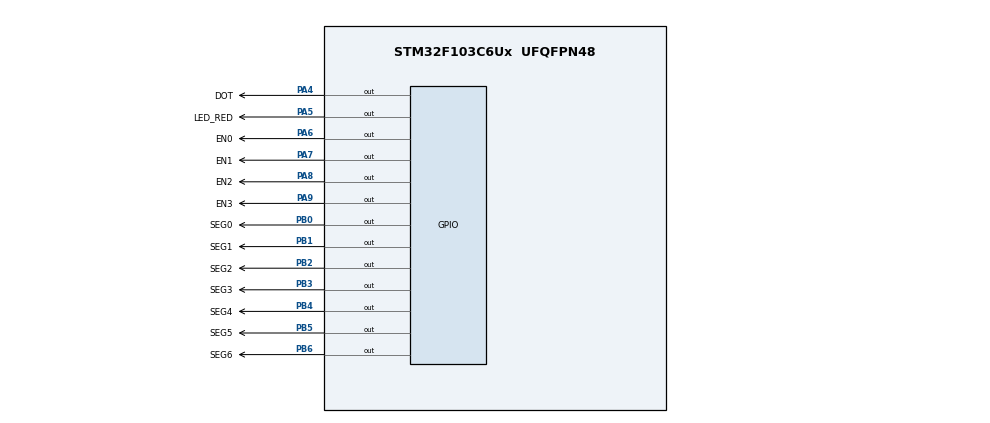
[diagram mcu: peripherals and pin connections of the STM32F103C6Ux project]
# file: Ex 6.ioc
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Mcu.Family=STM32F1
Mcu.Name=STM32F103C6Ux
Mcu.Package=UFQFPN48
NVIC.PriorityGroup=NVIC_PRIORITYGROUP_4
NVIC.TIM2_IRQn=true\:0\:0\:false\:false\:true\:true\:true\:true
PA4.GPIO_Label=DOT
PA4.Signal=GPIO_Output
PA5.GPIO_Label=LED_RED
PA5.Signal=GPIO_Output
PA6.GPIO_Label=EN0
PA6.Signal=GPIO_Output
PA7.GPIO_Label=EN1
PA7.Signal=GPIO_Output
PA8.GPIO_Label=EN2
PA8.Signal=GPIO_Output
PA9.GPIO_Label=EN3
PA9.Signal=GPIO_Output
PB0.GPIO_Label=SEG0
PB0.Signal=GPIO_Output
PB1.GPIO_Label=SEG1
PB1.Signal=GPIO_Output
PB2.GPIO_Label=SEG2
PB2.Signal=GPIO_Output
PB3.GPIO_Label=SEG3
PB3.Signal=GPIO_Output
PB4.GPIO_Label=SEG4
PB4.Signal=GPIO_Output
PB5.GPIO_Label=SEG5
PB5.Signal=GPIO_Output
PB6.GPIO_Label=SEG6
PB6.Signal=GPIO_Output
ProjectManager.HeapSize=0x200
ProjectManager.StackSize=0x400
ProjectManager.TargetToolchain=STM32CubeIDE
RCC.APB1Freq_Value=8000000
RCC.APB2Freq_Value=8000000
TIM2.Period=9
TIM2.Prescaler=7999
VP_SYS_VS_ND.Mode=No_Debug
VP_TIM2_VS_ClockSourceINT.Mode=Internal
board=custom

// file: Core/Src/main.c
/* USER CODE BEGIN Header */
/**
  ******************************************************************************
  * @file           : main.c
  * @brief          : Main program body
  ******************************************************************************
  * @attention
  *
  * <h2><center>&copy; Copyright (c) 2022 STMicroelectronics.
  * All rights reserved.</center></h2>
  *
  * This software component is licensed by ST under BSD 3-Clause license,
  * the "License"; You may not use this file except in compliance with the
  * License. You may obtain a copy of the License at:
  *                        opensource.org/licenses/BSD-3-Clause
  *
  ******************************************************************************
  */
/* USER CODE END Header */
#include "main.h"

/* USER CODE BEGIN Includes */
#include "timer.h"
#include "led.h"
/* USER CODE END Includes */

TIM_HandleTypeDef htim2;

void SystemClock_Config(void);
static void MX_GPIO_Init(void);
static void MX_TIM2_Init(void);

/* USER CODE BEGIN 0 */
int timer0_counter = 0;
int timer0_flag = 0;
int TIMER_CYCLE = 10;
void setTimer0(int duration){
	timer0_counter = duration / TIMER_CYCLE ;
	timer0_flag = 0;
}
void timer_run(){
	if (timer0_counter > 0) {
		timer0_counter--;
		if (timer0_counter == 0) timer0_flag = 1;
	}
}
/* USER CODE END 0 */

int main(void)
{

  /* MCU Configuration--------------------------------------------------------*/

  /* Reset of all peripherals, Initializes the Flash interface and the Systick. */
  HAL_Init();

  /* Configure the system clock */
  SystemClock_Config();

  /* Initialize all configured peripherals */
  MX_GPIO_Init();
  MX_TIM2_Init();
  /* USER CODE BEGIN 2 */
  HAL_TIM_Base_Start_IT(&htim2);
  setTimer0 (10);
  /* USER CODE END 2 */

  /* Infinite loop */
  /* USER CODE BEGIN WHILE */
  while (1) {
	  if (timer0_flag == 1) {
		  HAL_GPIO_TogglePin(LED_RED_GPIO_Port, LED_RED_Pin);
		  setTimer0(2000);
	  }
    /* USER CODE END WHILE */

  }
}

void SystemClock_Config(void)
{
  RCC_OscInitTypeDef RCC_OscInitStruct = {0};
  RCC_ClkInitTypeDef RCC_ClkInitStruct = {0};

  /** Initializes the RCC Oscillators according to the specified parameters
  * in the RCC_OscInitTypeDef structure.
  */
  RCC_OscInitStruct.OscillatorType = RCC_OSCILLATORTYPE_HSI;
  RCC_OscInitStruct.HSIState = RCC_HSI_ON;
  RCC_OscInitStruct.HSICalibrationValue = RCC_HSICALIBRATION_DEFAULT;
  RCC_OscInitStruct.PLL.PLLState = RCC_PLL_NONE;
  if (HAL_RCC_OscConfig(&RCC_OscInitStruct) != HAL_OK)
  {
    Error_Handler();
  }

  /** Initializes the CPU, AHB and APB buses clocks
  */
  RCC_ClkInitStruct.ClockType = RCC_CLOCKTYPE_HCLK|RCC_CLOCKTYPE_SYSCLK
                              |RCC_CLOCKTYPE_PCLK1|RCC_CLOCKTYPE_PCLK2;
  RCC_ClkInitStruct.SYSCLKSource = RCC_SYSCLKSOURCE_HSI;
  RCC_ClkInitStruct.AHBCLKDivider = RCC_SYSCLK_DIV1;
  RCC_ClkInitStruct.APB1CLKDivider = RCC_HCLK_DIV1;
  RCC_ClkInitStruct.APB2CLKDivider = RCC_HCLK_DIV1;

  if (HAL_RCC_ClockConfig(&RCC_ClkInitStruct, FLASH_LATENCY_0) != HAL_OK)
  {
    Error_Handler();
  }
}

static void MX_TIM2_Init(void)
{

  TIM_ClockConfigTypeDef sClockSourceConfig = {0};
  TIM_MasterConfigTypeDef sMasterConfig = {0};

  htim2.Instance = TIM2;
  htim2.Init.Prescaler = 7999;
  htim2.Init.CounterMode = TIM_COUNTERMODE_UP;
  htim2.Init.Period = 9;
  htim2.Init.ClockDivision = TIM_CLOCKDIVISION_DIV1;
  htim2.Init.AutoReloadPreload = TIM_AUTORELOAD_PRELOAD_DISABLE;
  if (HAL_TIM_Base_Init(&htim2) != HAL_OK)
  {
    Error_Handler();
  }
  sClockSourceConfig.ClockSource = TIM_CLOCKSOURCE_INTERNAL;
  if (HAL_TIM_ConfigClockSource(&htim2, &sClockSourceConfig) != HAL_OK)
  {
    Error_Handler();
  }
  sMasterConfig.MasterOutputTrigger = TIM_TRGO_RESET;
  sMasterConfig.MasterSlaveMode = TIM_MASTERSLAVEMODE_DISABLE;
  if (HAL_TIMEx_MasterConfigSynchronization(&htim2, &sMasterConfig) != HAL_OK)
  {
    Error_Handler();
  }

}

static void MX_GPIO_Init(void)
{
  GPIO_InitTypeDef GPIO_InitStruct = {0};

  /* GPIO Ports Clock Enable */
  __HAL_RCC_GPIOA_CLK_ENABLE();
  __HAL_RCC_GPIOB_CLK_ENABLE();

  /*Configure GPIO pin Output Level */
  HAL_GPIO_WritePin(GPIOA, DOT_Pin|LED_RED_Pin|EN0_Pin|EN1_Pin
                          |EN2_Pin|EN3_Pin, GPIO_PIN_RESET);

  /*Configure GPIO pin Output Level */
  HAL_GPIO_WritePin(GPIOB, SEG0_Pin|SEG1_Pin|SEG2_Pin|SEG3_Pin
                          |SEG4_Pin|SEG5_Pin|SEG6_Pin, GPIO_PIN_RESET);

  /*Configure GPIO pins : DOT_Pin LED_RED_Pin EN0_Pin EN1_Pin
                           EN2_Pin EN3_Pin */
  GPIO_InitStruct.Pin = DOT_Pin|LED_RED_Pin|EN0_Pin|EN1_Pin
                          |EN2_Pin|EN3_Pin;
  GPIO_InitStruct.Mode = GPIO_MODE_OUTPUT_PP;
  GPIO_InitStruct.Pull = GPIO_NOPULL;
  GPIO_InitStruct.Speed = GPIO_SPEED_FREQ_LOW;
  HAL_GPIO_Init(GPIOA, &GPIO_InitStruct);

  /*Configure GPIO pins : SEG0_Pin SEG1_Pin SEG2_Pin SEG3_Pin
                           SEG4_Pin SEG5_Pin SEG6_Pin */
  GPIO_InitStruct.Pin = SEG0_Pin|SEG1_Pin|SEG2_Pin|SEG3_Pin
                          |SEG4_Pin|SEG5_Pin|SEG6_Pin;
  GPIO_InitStruct.Mode = GPIO_MODE_OUTPUT_PP;
  GPIO_InitStruct.Pull = GPIO_NOPULL;
  GPIO_InitStruct.Speed = GPIO_SPEED_FREQ_LOW;
  HAL_GPIO_Init(GPIOB, &GPIO_InitStruct);

}

/* USER CODE BEGIN 4 */
void HAL_TIM_PeriodElapsedCallback(TIM_HandleTypeDef *htim){
	//timerRun();
	timer_run();
}
/* USER CODE END 4 */

void Error_Handler(void)
{
  __disable_irq();
  while (1)
  {
  }
}
